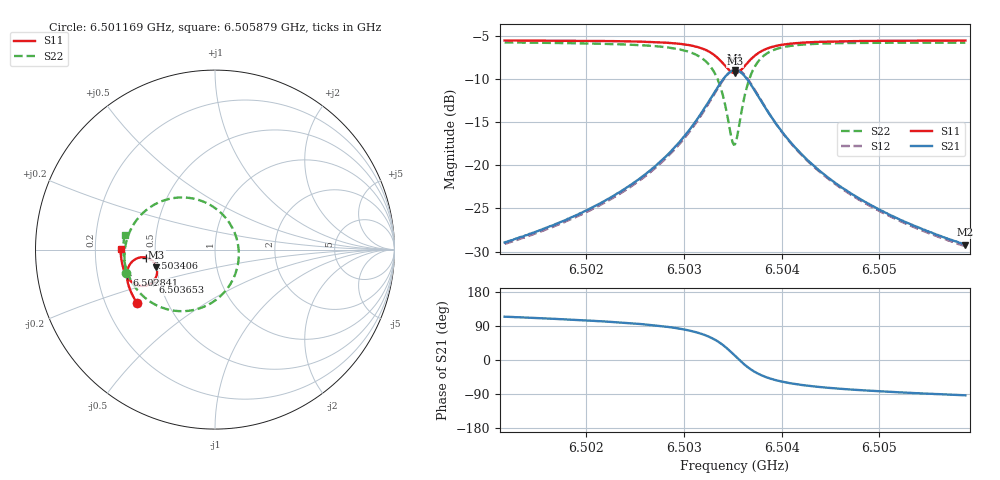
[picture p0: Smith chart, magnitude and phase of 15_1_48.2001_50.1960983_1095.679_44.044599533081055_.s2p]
#  HZ  S  RI  R  50.00
! Rohde & Schwarz Vector Network Analyzer
! Rohde-Schwarz,ZNB20-2Port,1311601062101988,3.16
! Created: UTC 3/20/2024, 11:36:42 AM
! freq[Hz]  re:S11  im:S11  re:S21  im:S21  re:S12  im:S12  re:S22  im:S22
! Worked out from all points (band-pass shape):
!   401 points, 6.501169 GHz to 6.505879 GHz, reference 50 ohm
!   highest |S21| = -9.01 dB at 6.503524 GHz (marker M1); lowest = -29.2 dB at 6.505879 GHz (marker M2)
!   |S21| within 3 dB of the highest: 6.503289 GHz to 6.50376 GHz (471 kHz wide, 0.00724 % of centre)
!   lowest |S11| = -9.4 dB at 6.503524 GHz (marker M3), VSWR 2.03, Z = 25 - j5.59 ohm
!   |S11| at or under -10 dB: nowhere
!   |S22| runs from -17.6 to -5.8 dB; largest |S21 - S12| = 0.012
!   S11 on the Smith chart (normalised r, x): 6.501169 GHz: 0.34, -0.27; 6.502841 GHz: 0.33, -0.12; 6.503406 GHz: 0.45, -0.05; 6.503653 GHz: 0.46, -0.20; 6.505879 GHz: 0.31, +0.00
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6.5011686e9  -0.4361 -0.295  -0.0147 0.0326  -0.013 0.0326  -0.4953 -0.133
6.5019575e9  -0.4687 -0.2347  -0.0138 0.0513  -0.0113 0.0508  -0.5044 -0.0452
6.5023814e9  -0.4827 -0.1956  -0.0106 0.0713  -0.00734 0.07  -0.4993 0.0186
6.5027464e9  -0.4904 -0.1533  -0.000284 0.1031  0.00344 0.1007  -0.4762 0.0969
6.5028406e9  -0.4907 -0.1398  0.00566 0.1158  0.00937 0.1126  -0.4632 0.1237
6.5030408e9  -0.4849 -0.1052  0.0308 0.1525  0.0344 0.1478  -0.4111 0.1944
6.5031821e9  -0.4685 -0.0747  0.0724 0.1876  0.0748 0.1814  -0.3305 0.2546
6.5033116e9  -0.4309 -0.0474  0.1525 0.214  0.153 0.2076  -0.1846 0.2907
6.5034058e9  -0.3823 -0.045  0.2476 0.1965  0.2474 0.1919  -0.0201 0.2451
6.5034883e9  -0.3375 -0.0757  0.3291 0.1187  0.3316 0.115  0.1105 0.0914
6.5035236e9  -0.3261 -0.0988  0.3477 0.0679  0.3515 0.0628  0.1322 -0.0046
6.5035471e9  -0.3228 -0.1159  0.3511 0.0318  0.3555 0.0252  0.1296 -0.071
6.5035825e9  -0.3249 -0.1412  0.3434 -0.0206  0.3475 -0.0297  0.101 -0.1645
6.5036531e9  -0.3479 -0.1805  0.2946 -0.1006  0.2948 -0.1127  -0.0147 -0.2941
6.5037473e9  -0.3904 -0.2016  0.2125 -0.1458  0.2076 -0.1566  -0.1825 -0.3432
6.503818e9  -0.4178 -0.2018  0.1627 -0.1511  0.1557 -0.1596  -0.2759 -0.3299
6.5039004e9  -0.4418 -0.1947  0.1203 -0.1447  0.1128 -0.1506  -0.3502 -0.2969
6.5040652e9  -0.472 -0.1734  0.0701 -0.1227  0.0634 -0.1253  -0.4314 -0.2268
6.5043125e9  -0.495 -0.1421  0.0359 -0.0946  0.0307 -0.0952  -0.4807 -0.1463
6.5046775e9  -0.5114 -0.1025  0.0154 -0.0688  0.012 -0.0684  -0.5045 -0.0673
6.5051014e9  -0.5205 -0.0622  0.00552 -0.0515  0.00302 -0.0508  -0.5107 -0.00342
6.5058786e9  -0.5261 0.00455  -0.0019 -0.0347  -0.00337 -0.0339  -0.504 0.0828
